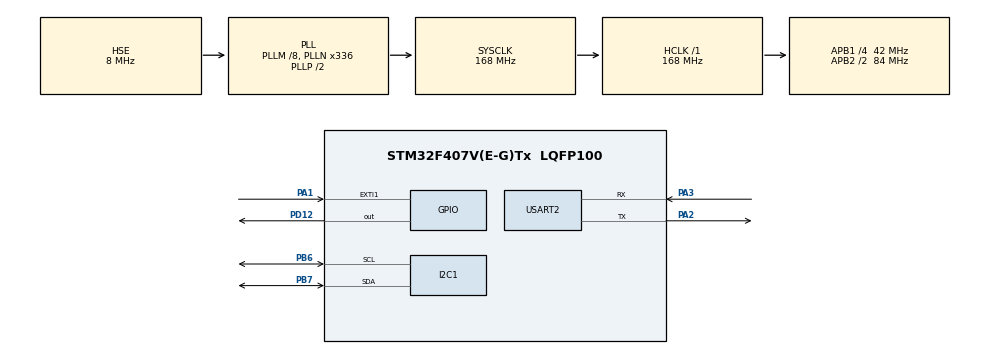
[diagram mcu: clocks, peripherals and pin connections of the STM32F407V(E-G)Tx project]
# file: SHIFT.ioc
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FREERTOS.Queues01=queue_data2Pi,16,uint16_t,0,Dynamic,NULL,NULL
FREERTOS.Tasks01=task_MPU6050,40,256,StartDefaultTask,Default,NULL,Dynamic,NULL,NULL;task_MAX30102,24,512,StartTask02,Default,NULL,Dynamic,NULL,NULL;task_AHT21,8,128,StartTask03,Default,NULL,Dynamic,NULL,NULL;task_PiComm,16,128,StartTask04,Default,NULL,Dynamic,NULL,NULL
FREERTOS.configUSE_NEWLIB_REENTRANT=1
Mcu.Family=STM32F4
Mcu.Name=STM32F407V(E-G)Tx
Mcu.Package=LQFP100
NVIC.EXTI1_IRQn=true\:5\:0\:false\:false\:true\:true\:true\:true\:true
NVIC.PriorityGroup=NVIC_PRIORITYGROUP_4
NVIC.TIM1_UP_TIM10_IRQn=true\:15\:0\:false\:false\:true\:false\:false\:true\:true
NVIC.TimeBase=TIM1_UP_TIM10_IRQn
NVIC.TimeBaseIP=TIM1
NVIC.USART2_IRQn=true\:5\:0\:false\:false\:true\:true\:true\:true\:true
PA1.GPIO_ModeDefaultEXTI=GPIO_MODE_IT_FALLING
PA1.Signal=GPXTI1
PA13.Mode=Trace_Asynchronous_SW
PA13.Signal=SYS_JTMS-SWDIO
PA14.Mode=Trace_Asynchronous_SW
PA14.Signal=SYS_JTCK-SWCLK
PA2.Mode=Asynchronous
PA2.Signal=USART2_TX
PA3.Mode=Asynchronous
PA3.Signal=USART2_RX
PB3.Mode=Trace_Asynchronous_SW
PB3.Signal=SYS_JTDO-SWO
PB6.Mode=I2C
PB6.Signal=I2C1_SCL
PB7.Mode=I2C
PB7.Signal=I2C1_SDA
PD12.Signal=GPIO_Output
PH0-OSC_IN.Mode=HSE-External-Oscillator
PH0-OSC_IN.Signal=RCC_OSC_IN
PH1-OSC_OUT.Mode=HSE-External-Oscillator
PH1-OSC_OUT.Signal=RCC_OSC_OUT
ProjectManager.HeapSize=0x200
ProjectManager.StackSize=0x400
ProjectManager.TargetToolchain=STM32CubeIDE
RCC.48MHZClocksFreq_Value=84000000
RCC.AHBFreq_Value=168000000
RCC.APB1CLKDivider=RCC_HCLK_DIV4
RCC.APB1Freq_Value=42000000
RCC.APB1TimFreq_Value=84000000
RCC.APB2CLKDivider=RCC_HCLK_DIV2
RCC.APB2Freq_Value=84000000
RCC.APB2TimFreq_Value=168000000
RCC.CortexFreq_Value=168000000
RCC.HCLKFreq_Value=168000000
RCC.HSE_VALUE=8000000
RCC.HSI_VALUE=16000000
RCC.LSE_VALUE=32768
RCC.PLLM=8
RCC.PLLN=336
RCC.PLLSourceVirtual=RCC_PLLSOURCE_HSE
RCC.SYSCLKFreq_VALUE=168000000
RCC.SYSCLKSource=RCC_SYSCLKSOURCE_PLLCLK
RCC.VCOOutputFreq_Value=336000000
USART2.VirtualMode=VM_ASYNC
VP_FREERTOS_VS_CMSIS_V2.Mode=CMSIS_V2
VP_SYS_VS_tim1.Mode=TIM1
board=custom

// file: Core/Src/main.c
/* USER CODE BEGIN Header */
/**
  ******************************************************************************
  * @file           : main.c
  * @brief          : Main program body
  ******************************************************************************
  * @attention
  *
  * Copyright (c) 2026 STMicroelectronics.
  * All rights reserved.
  *
  * This software is licensed under terms that can be found in the LICENSE file
  * in the root directory of this software component.
  * If no LICENSE file comes with this software, it is provided AS-IS.
  *
  ******************************************************************************
  */
/* USER CODE END Header */
#include "main.h"
#include "cmsis_os.h"

/* USER CODE BEGIN Includes */
#include "max30102.h"
#include "AHT21.h"
#include "MPU6050.h"
#include "max30102_processing.h"
#include "alert.h"
#include "protocol.h"
/* USER CODE END Includes */

I2C_HandleTypeDef hi2c1;

UART_HandleTypeDef huart2;

/* Definitions for task_MPU6050 */
osThreadId_t task_MPU6050Handle;
const osThreadAttr_t task_MPU6050_attributes = {
  .name = "task_MPU6050",
  .stack_size = 256 * 4,
  .priority = (osPriority_t) osPriorityHigh,
};
/* Definitions for task_MAX30102 */
osThreadId_t task_MAX30102Handle;
const osThreadAttr_t task_MAX30102_attributes = {
  .name = "task_MAX30102",
  .stack_size = 512 * 4,
  .priority = (osPriority_t) osPriorityNormal,
};
/* Definitions for task_AHT21 */
osThreadId_t task_AHT21Handle;
const osThreadAttr_t task_AHT21_attributes = {
  .name = "task_AHT21",
  .stack_size = 128 * 4,
  .priority = (osPriority_t) osPriorityLow,
};
/* Definitions for task_PiComm */
osThreadId_t task_PiCommHandle;
const osThreadAttr_t task_PiComm_attributes = {
  .name = "task_PiComm",
  .stack_size = 5124,
  .priority = (osPriority_t) osPriorityBelowNormal,
};
/* Definitions for queue_data2Pi */
osMessageQueueId_t queue_data2PiHandle;
const osMessageQueueAttr_t queue_data2Pi_attributes = {
  .name = "queue_data2Pi"
};

/* USER CODE BEGIN PV */
osMutexId_t i2cMutexHandle = NULL;  /* protect shared I2C (hi2c1) */
osMutexId_t dataMutexHandle = NULL;
uint32_t max30102_red = 0, max30102_ir = 0;
uint8_t  max30102_ok = 0;
uint32_t aht21_humidity;
int32_t aht21_temperature;
uint8_t aht21_ok;
Struct_MPU6050 MPU6050_Data;
MAX30102_Metrics metrics = {0};
SHIFT_AlertFlags flags = 0;
/* USER CODE END PV */

void SystemClock_Config(void);
static void MX_GPIO_Init(void);
static void MX_I2C1_Init(void);
static void MX_USART2_UART_Init(void);
void StartDefaultTask(void *argument);
void StartTask02(void *argument);
void StartTask03(void *argument);
void StartTask04(void *argument);

/* USER CODE BEGIN 0 */
#include <stdio.h>
#ifdef __GNUC__
#define PUTCHAR_PROTOTYPE int __io_putchar(int ch)
#else
#define PUTCHAR_PROTOTYPE int fputc(int ch, FILE *f)
#endif

PUTCHAR_PROTOTYPE
{
  ITM_SendChar(ch);
  return ch;
}

int _write(int file, char *ptr, int len)
{
  int i;
  for (i = 0; i < len; i++) {
    ITM_SendChar((*ptr++));
  }
  return len;
}

/* USER CODE END 0 */

int main(void)
{

  /* MCU Configuration--------------------------------------------------------*/

  /* Reset of all peripherals, Initializes the Flash interface and the Systick. */
  HAL_Init();

  /* Configure the system clock */
  SystemClock_Config();

  /* Initialize all configured peripherals */
  MX_GPIO_Init();
  MX_I2C1_Init();
  MX_USART2_UART_Init();
  /* USER CODE BEGIN 2 */
  if (MAX30102_Init(&hi2c1) != HAL_OK) {
    printf("MAX30102 Init FAIL\r\n");
  } else {
    printf("MAX30102 Init OK\r\n");
    MAX30102_ResetBuffer();
  }

  if (AHT21_Init(&hi2c1) != HAL_OK){
  	printf("AHT21 Init FAIL\r\n");
  }	else {
  	printf("AHT21 Init OK\r\n");
  }

  if (MPU6050_Initialization() != HAL_OK) {
    printf("MPU6050 Init FAIL\r\n");
  } else {
    printf("MPU6050 Init OK\r\n");
  }

  /* USER CODE END 2 */

  /* Init scheduler */
  osKernelInitialize();

  /* USER CODE BEGIN RTOS_MUTEX */
  i2cMutexHandle = osMutexNew(NULL);
  dataMutexHandle = osMutexNew(NULL);
  /* USER CODE END RTOS_MUTEX */

  /* Create the queue(s) */
  /* creation of queue_data2Pi */
  queue_data2PiHandle = osMessageQueueNew (16, sizeof(uint16_t), &queue_data2Pi_attributes);

  /* Create the thread(s) */
  /* creation of task_MPU6050 */
  task_MPU6050Handle = osThreadNew(StartDefaultTask, NULL, &task_MPU6050_attributes);

  /* creation of task_MAX30102 */
  task_MAX30102Handle = osThreadNew(StartTask02, NULL, &task_MAX30102_attributes);

  /* creation of task_AHT21 */
  task_AHT21Handle = osThreadNew(StartTask03, NULL, &task_AHT21_attributes);

  /* creation of task_PiComm */
  task_PiCommHandle = osThreadNew(StartTask04, NULL, &task_PiComm_attributes);

  /* Start scheduler */
  osKernelStart();

  /* We should never get here as control is now taken by the scheduler */

  /* Infinite loop */
  while (1)
  {
  }
}

void SystemClock_Config(void)
{
  RCC_OscInitTypeDef RCC_OscInitStruct = {0};
  RCC_ClkInitTypeDef RCC_ClkInitStruct = {0};

  /** Configure the main internal regulator output voltage
  */
  __HAL_RCC_PWR_CLK_ENABLE();
  __HAL_PWR_VOLTAGESCALING_CONFIG(PWR_REGULATOR_VOLTAGE_SCALE1);

  /** Initializes the RCC Oscillators according to the specified parameters
  * in the RCC_OscInitTypeDef structure.
  */
  RCC_OscInitStruct.OscillatorType = RCC_OSCILLATORTYPE_HSE;
  RCC_OscInitStruct.HSEState = RCC_HSE_ON;
  RCC_OscInitStruct.PLL.PLLState = RCC_PLL_ON;
  RCC_OscInitStruct.PLL.PLLSource = RCC_PLLSOURCE_HSE;
  RCC_OscInitStruct.PLL.PLLM = 8;
  RCC_OscInitStruct.PLL.PLLN = 336;
  RCC_OscInitStruct.PLL.PLLP = RCC_PLLP_DIV2;
  RCC_OscInitStruct.PLL.PLLQ = 4;
  if (HAL_RCC_OscConfig(&RCC_OscInitStruct) != HAL_OK)
  {
    Error_Handler();
  }

  /** Initializes the CPU, AHB and APB buses clocks
  */
  RCC_ClkInitStruct.ClockType = RCC_CLOCKTYPE_HCLK|RCC_CLOCKTYPE_SYSCLK
                              |RCC_CLOCKTYPE_PCLK1|RCC_CLOCKTYPE_PCLK2;
  RCC_ClkInitStruct.SYSCLKSource = RCC_SYSCLKSOURCE_PLLCLK;
  RCC_ClkInitStruct.AHBCLKDivider = RCC_SYSCLK_DIV1;
  RCC_ClkInitStruct.APB1CLKDivider = RCC_HCLK_DIV4;
  RCC_ClkInitStruct.APB2CLKDivider = RCC_HCLK_DIV2;

  if (HAL_RCC_ClockConfig(&RCC_ClkInitStruct, FLASH_LATENCY_5) != HAL_OK)
  {
    Error_Handler();
  }
}

static void MX_I2C1_Init(void)
{

  hi2c1.Instance = I2C1;
  hi2c1.Init.ClockSpeed = 100000;
  hi2c1.Init.DutyCycle = I2C_DUTYCYCLE_2;
  hi2c1.Init.OwnAddress1 = 0;
  hi2c1.Init.AddressingMode = I2C_ADDRESSINGMODE_7BIT;
  hi2c1.Init.DualAddressMode = I2C_DUALADDRESS_DISABLE;
  hi2c1.Init.OwnAddress2 = 0;
  hi2c1.Init.GeneralCallMode = I2C_GENERALCALL_DISABLE;
  hi2c1.Init.NoStretchMode = I2C_NOSTRETCH_DISABLE;
  if (HAL_I2C_Init(&hi2c1) != HAL_OK)
  {
    Error_Handler();
  }

}

static void MX_USART2_UART_Init(void)
{

  huart2.Instance = USART2;
  huart2.Init.BaudRate = 115200;
  huart2.Init.WordLength = UART_WORDLENGTH_8B;
  huart2.Init.StopBits = UART_STOPBITS_1;
  huart2.Init.Parity = UART_PARITY_NONE;
  huart2.Init.Mode = UART_MODE_TX_RX;
  huart2.Init.HwFlowCtl = UART_HWCONTROL_NONE;
  huart2.Init.OverSampling = UART_OVERSAMPLING_16;
  if (HAL_UART_Init(&huart2) != HAL_OK)
  {
    Error_Handler();
  }

}

static void MX_GPIO_Init(void)
{
  GPIO_InitTypeDef GPIO_InitStruct = {0};

  /* GPIO Ports Clock Enable */
  __HAL_RCC_GPIOH_CLK_ENABLE();
  __HAL_RCC_GPIOA_CLK_ENABLE();
  __HAL_RCC_GPIOD_CLK_ENABLE();
  __HAL_RCC_GPIOB_CLK_ENABLE();

  /*Configure GPIO pin Output Level */
  HAL_GPIO_WritePin(GPIOD, GPIO_PIN_12, GPIO_PIN_RESET);

  /*Configure GPIO pin : PA1 */
  GPIO_InitStruct.Pin = GPIO_PIN_1;
  GPIO_InitStruct.Mode = GPIO_MODE_IT_FALLING;
  GPIO_InitStruct.Pull = GPIO_NOPULL;
  HAL_GPIO_Init(GPIOA, &GPIO_InitStruct);

  /*Configure GPIO pin : PD12 */
  GPIO_InitStruct.Pin = GPIO_PIN_12;
  GPIO_InitStruct.Mode = GPIO_MODE_OUTPUT_PP;
  GPIO_InitStruct.Pull = GPIO_NOPULL;
  GPIO_InitStruct.Speed = GPIO_SPEED_FREQ_LOW;
  HAL_GPIO_Init(GPIOD, &GPIO_InitStruct);

  /* EXTI interrupt init*/
  HAL_NVIC_SetPriority(EXTI1_IRQn, 5, 0);
  HAL_NVIC_EnableIRQ(EXTI1_IRQn);

}

void StartDefaultTask(void *argument)
{
  /* USER CODE BEGIN 5 */
  for (;;)
  {
    if (i2cMutexHandle != NULL && osMutexAcquire(i2cMutexHandle, osWaitForever) == osOK)
    {
      MPU6050_ProcessData(&MPU6050_Data);
      osMutexRelease(i2cMutexHandle);
    }
    osDelay(5);  /* 5 ms -> 200 Hz (match MPU6050 chip rate) */
  }
  /* USER CODE END 5 */
}

void StartTask02(void *argument)
{
  /* USER CODE BEGIN StartTask02 */
	for (;;)
	{
	    uint32_t red = 0, ir = 0;
	    HAL_StatusTypeDef st = HAL_ERROR;

	    if (i2cMutexHandle != NULL && osMutexAcquire(i2cMutexHandle, osWaitForever) == osOK)
	    {
	        st = MAX30102_ReadFIFO_OneSample(&red, &ir);
	        osMutexRelease(i2cMutexHandle);
	    }

	    if (st == HAL_OK)
	    {
	        max30102_red = red;
	        max30102_ir  = ir;

	        MAX30102_StoreSample(red, ir);

	        MAX30102_Metrics new_metrics;
	        if (MAX30102_Process(&new_metrics))
	        {
	            if (dataMutexHandle != NULL && osMutexAcquire(dataMutexHandle, osWaitForever) == osOK)
	            {
	                metrics = new_metrics;
	                osMutexRelease(dataMutexHandle);
	            }
	            else
	            {
	                metrics = new_metrics;
	            }
	        }
	    }

	    osDelay(10);  /* 10 ms -> 100 Hz (match MAX30102 chip rate) */
	}
  /* USER CODE END StartTask02 */
}

void StartTask03(void *argument)
{
  /* USER CODE BEGIN StartTask03 */
  for (;;)
  {
    if (i2cMutexHandle != NULL && osMutexAcquire(i2cMutexHandle, osWaitForever) == osOK)
    {
      aht21_humidity = AHT21_Read_Humidity();
      aht21_temperature = AHT21_Read_Temperature();
      aht21_ok = (aht21_humidity != 0xFFFFFFFFU && aht21_temperature != (int32_t)0x80000000);
      osMutexRelease(i2cMutexHandle);
    }
    osDelay(1000);  /* 1 second */
  }
  /* USER CODE END StartTask03 */
}

/* USER CODE BEGIN Header_StartTask04 */
/**
* @brief Function implementing the task_PiComm thread.
* @param argument: Not used
* @retval None
*/
void StartTask04(void *argument)
{
    SHIFT_Frame frame;

    MAX30102_Metrics local_metrics;
    int32_t          local_temp;
    Struct_MPU6050 local_mpu;
    SHIFT_AlertFlags local_alerts;

    for (;;)
    {
        /* ===== ALERT LOGIC ===== */
        SHIFT_CheckAlerts(&local_metrics,
                          (float)local_temp,
                          &local_mpu,
                          &flags);
        /* ======================== */

    	/* ===== PROTECTED COPY ===== */
        if (osMutexAcquire(dataMutexHandle, osWaitForever) == osOK)
        {
            local_metrics = metrics;
            local_temp    = aht21_temperature;
            local_alerts  = flags;

            osMutexRelease(dataMutexHandle);
        }

        /* ===== ACT ON FLAGS ===== */
        if (flags != 0)
        {
            HAL_GPIO_WritePin(GPIOD, GPIO_PIN_12, GPIO_PIN_SET);
            printf("!!! ALERT !!!\r\n");
        }
        else
        {
            HAL_GPIO_WritePin(GPIOD, GPIO_PIN_12, GPIO_PIN_RESET);
        }
        /* ========================= */

        /* ===== BUILD FRAME ===== */
        SHIFT_BuildFrame(&frame,
                         local_metrics.bpm,
                         local_metrics.spo2,
                         (float)local_temp,
                         local_metrics.signal_quality,
                         local_alerts);

    /* ===== SEND FRAME (binary protocol) ===== */
    HAL_UART_Transmit(&huart2,
                      (uint8_t *)&frame,
                      SHIFT_FRAME_SIZE,
                      HAL_MAX_DELAY);

    /* Optional: log one summary line per second for debugging */
    printf("TX RPi: BPM=%.1f SpO2=%.1f T=%.1fC SQ=%.1f Alerts=0x%08lX\r\n",
           local_metrics.bpm,
           local_metrics.spo2,
           (float)local_temp,
           local_metrics.signal_quality,
           (unsigned long)local_alerts);

    osDelay(1000); /* 1 second summary frame */
    }
}
/* USER CODE END Header_StartTask04 */

void HAL_TIM_PeriodElapsedCallback(TIM_HandleTypeDef *htim)
{
  if (htim->Instance == TIM1)
  {
    HAL_IncTick();
  }
}

void Error_Handler(void)
{
  __disable_irq();
  while (1)
  {
  }
}
